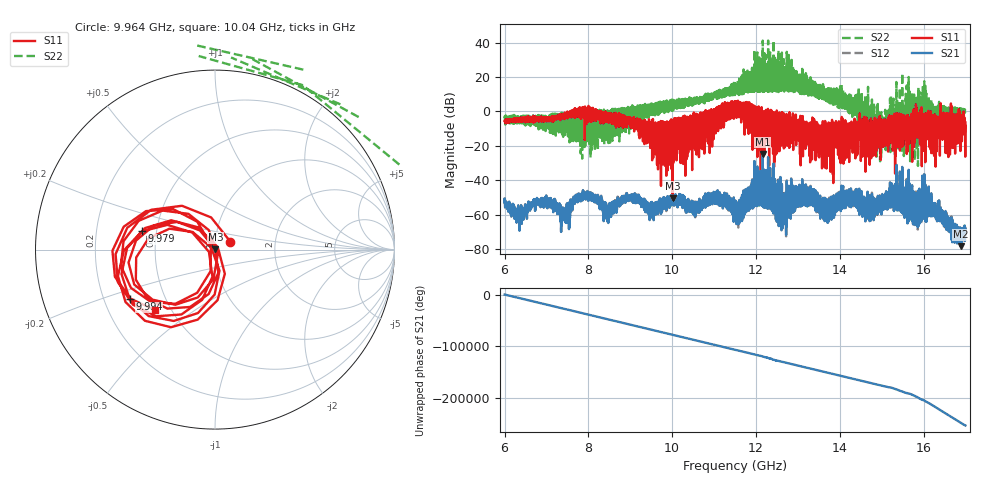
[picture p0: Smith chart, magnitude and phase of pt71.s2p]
#  HZ  S  RI  R  50.00
! Rohde & Schwarz Vector Network Analyzer
! Rohde-Schwarz,ZNA67-2Port,1332450062101215,3.01
! Created: UTC 10/16/2026, 2:07:47 PM
! freq[Hz]  re:S11  im:S11  re:S21  im:S21  re:S12  im:S12  re:S22  im:S22
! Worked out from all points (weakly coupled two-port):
!   11001 points, 6 GHz to 17 GHz, reference 50 ohm
!   highest |S21| = -24.73 dB at 12.16 GHz (marker M1); lowest = -78.4 dB at 16.89 GHz (marker M2)
!   lowest |S11| = -50.6 dB at 10.01 GHz (marker M3), VSWR 1.01, Z = 50.2 + j0.167 ohm
!   |S11| at or under -10 dB: 13.53907 GHz to 13.56974 GHz (30.67 MHz wide, 0.226 % of centre); 13.61294 GHz to 13.64771 GHz (34.76 MHz wide, 0.255 % of centre); 13.93414 GHz to 13.96335 GHz (29.21 MHz wide, 0.209 % of centre) (the widest 3 of 495)
!   |S22| runs from -31.7 to 41.2 dB; largest |S21 - S12| = 0.015
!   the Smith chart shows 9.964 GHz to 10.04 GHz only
!   S11 on the Smith chart (normalised r, x): 9.964 GHz: 1.18, +0.10; 9.979 GHz: 0.41, +0.10; 9.994 GHz: 0.31, -0.25; 10.04 GHz: 0.41, -0.35
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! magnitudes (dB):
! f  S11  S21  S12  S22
! 6 GHz  -5.7  -51.4  -51.5  -3.8
! 6.389 GHz  -3.7  -56.0  -56.2  -3.7
! 7.07 GHz  -4.9  -52.0  -51.8  -10.3
! 7.394 GHz  -1.9  -56.7  -56.3  -3.6
! 7.834 GHz  -1.0  -48.3  -48.1  -0.6
! 8.5 GHz  -3.5  -56.4  -56.3  -0.1
! 8.95 GHz  -6.5  -52.0  -51.9  -8.1
! 9.667 GHz  -6.7  -54.0  -54.2  5.0
! 9.964 GHz  -20.3  -51.8  -51.6  1.7
! 9.979 GHz  -7.5  -52.3  -52.6  2.9
! 9.994 GHz  -5.2  -51.6  -51.6  5.5
! 10.01 GHz  -50.6  -52.6  -52.7  2.7
! 10.04 GHz  -6.5  -50.5  -50.7  6.6
! 11.5 GHz  6.0  -58.9  -59.7  11.9
! 12.16 GHz  -7.5  -24.7  -25.0  41.1
! 12.64 GHz  -9.8  -59.1  -59.4  15.0
! 13.33 GHz  -8.6  -51.8  -51.5  11.3
! 13.69 GHz  -8.5  -56.6  -57.2  8.3
! 15.17 GHz  -15.7  -48.9  -49.1  -11.8
! 16.21 GHz  -2.3  -58.7  -58.7  -1.4
! 16.89 GHz  -6.6  -78.4  -76.8  -1.3
! 17 GHz  -6.4  -68.5  -67.8  0.7
